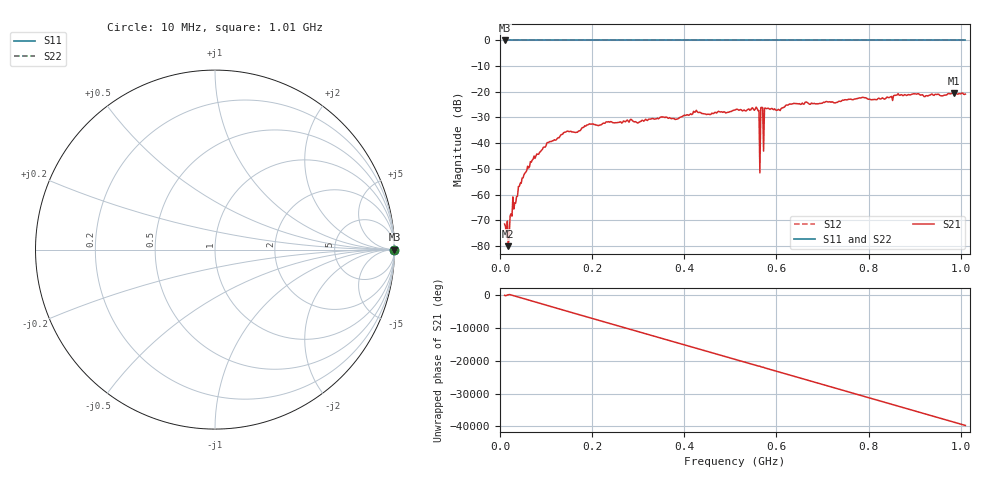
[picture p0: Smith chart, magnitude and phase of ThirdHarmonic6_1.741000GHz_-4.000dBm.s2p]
! 8/16/2025 8:59:03 PM
! C:\ANRITSUVNA\TEMP\TEMP.S2P
! CHANNEL.1
! TR.MEASUREMENT
! RAW.DATA
! RF.CORRECTION.OFF
! AVERAGING.OFF
! IF.BANDWIDTH: 5KHZ
! SWEEPTYPE:  FREQ.SWEEP(Linear)
! Reference Plane Port Info
! PORT:  PORT1  PORT2
! DISTANCE:  0  m  0  m
! TIME:  0  s  0  s
! PHASE.OFFSET:  0  deg.  0  deg.
! LOSS:  0  dB  0  dB
! REF.LOSS:  0  dB  0  dB
! REF.FREQ:  0  Hz  0  Hz
! Power Info
! POWER:  -20  dBm  -20  dBm
! EFF.POWER:  -20  dBm  -20  dBm
! SOURCE.ATTEN:  0  dB  0  dB
! TEST.ATTEN:  0  dB  0  dB
# GHZ S RI R 50.0
! FREQ.GHZ  S11RE  S11IM  S21RE  S21IM  S12RE  S12IM  S22RE  S22IM
!; PortSelection: Port_12
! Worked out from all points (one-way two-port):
!   501 points, 10 MHz to 1.01 GHz, reference 50 ohm
!   highest |S21| = -20.45 dB at 986 MHz (marker M1); lowest = -80.1 dB at 18 MHz (marker M2)
!   lowest |S11| = 0.0 dB at 10 MHz (marker M3)
!   |S11| at or under -10 dB: nowhere
!   |S22| runs from 0.0 to 0.0 dB; largest |S21 - S12| = 1.1
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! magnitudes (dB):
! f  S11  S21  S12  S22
! 10 MHz  0.0  -71.5  0.0  0.0
! 18 MHz  0.0  -80.1  0.0  0.0
! 22 MHz  0.0  -68.3  0.0  0.0
! 26 MHz  0.0  -68.4  0.0  0.0
! 44 MHz  0.0  -55.6  0.0  0.0
! 70 MHz  0.0  -46.6  0.0  0.0
! 106 MHz  0.0  -39.7  0.0  0.0
! 142 MHz  0.0  -35.7  0.0  0.0
! 178 MHz  0.0  -34.0  0.0  0.0
! 344 MHz  0.0  -30.5  0.0  0.0
! 510 MHz  0.0  -27.1  0.0  0.0
! 558 MHz  0.0  -26.5  0.0  0.0
! 560 MHz  0.0  -27.3  0.0  0.0
! 566 MHz  0.0  -26.1  0.0  0.0
! 568 MHz  0.0  -26.1  0.0  0.0
! 570 MHz  0.0  -26.2  0.0  0.0
! 576 MHz  0.0  -26.3  0.0  0.0
! 578 MHz  0.0  -26.5  0.0  0.0
! 678 MHz  0.0  -24.6  0.0  0.0
! 844 MHz  0.0  -22.3  0.0  0.0
! 986 MHz  0.0  -20.4  0.0  0.0
! 1.01 GHz  0.0  -20.9  0.0  0.0
